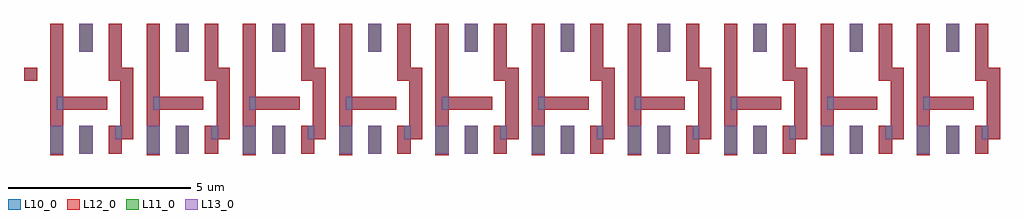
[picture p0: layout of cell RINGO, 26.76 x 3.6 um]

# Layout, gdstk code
import gdstk
lib = gdstk.Library(unit=1e-6, precision=1e-09)
def R(c, l, rs):  # rectangles x0, y0, x1, y1
    for r in rs: c.add(gdstk.rectangle(r[:2], r[2:], *l))
def P(c, l, *ps):  # polygons
    for p in ps: c.add(gdstk.Polygon(p, *l))
L10_0 = (10, 0)
L11_0 = (11, 0)
L12_0 = (12, 0)
L13_0 = (13, 0)

inv2 = lib.new_cell('INV2')
R(inv2, L10_0, [(-0.18,-0.38,0.18,0.38), (-0.18,2.42,0.18,3.18)])
P(inv2, L10_0, [(-0.98,-0.42),(-0.98,3.18),(-0.62,3.18),(-0.62,1.18),(0.58,1.18),(0.58,0.82),(-0.62,0.82),(-0.62,-0.42)],
  [(0.62,-0.38),(0.62,0.38),(0.94,0.38),(0.94,1.62),(0.62,1.62),(0.62,3.18),(0.98,3.18),(0.98,1.98),(1.3,1.98),(1.3,0.02),(0.98,0.02),(0.98,-0.38)])
R(inv2, L11_0, [(-0.98,-0.38,-0.62,0.38), (-0.18,-0.38,0.18,0.38), (0.8,0.02,0.98,0.38), (-0.8,0.82,-0.62,1.18), (-0.18,2.42,0.18,3.18)])
R(inv2, L12_0, [(-0.18,-0.38,0.18,0.38), (-0.18,2.42,0.18,3.18)])
P(inv2, L12_0, [(-0.98,-0.42),(-0.98,3.18),(-0.62,3.18),(-0.62,1.18),(0.58,1.18),(0.58,0.82),(-0.62,0.82),(-0.62,-0.42)],
  [(0.62,-0.38),(0.62,0.38),(0.94,0.38),(0.94,1.62),(0.62,1.62),(0.62,3.18),(0.98,3.18),(0.98,1.98),(1.3,1.98),(1.3,0.02),(0.98,0.02),(0.98,-0.38)])
R(inv2, L13_0, [(-0.98,-0.38,-0.62,0.38), (-0.18,-0.38,0.18,0.38), (0.8,0.02,0.98,0.38), (-0.8,0.82,-0.62,1.18), (-0.18,2.42,0.18,3.18)])

ringo = lib.new_cell('RINGO')
R(ringo, L10_0, [(-1.7,1.62,-1.34,1.98)])
R(ringo, L12_0, [(-1.7,1.62,-1.34,1.98)])
ringo.add(gdstk.Reference(inv2, (0,0)))
ringo.add(gdstk.Reference(inv2, (2.64,0)))
ringo.add(gdstk.Reference(inv2, (5.28,0)))
ringo.add(gdstk.Reference(inv2, (7.92,0)))
ringo.add(gdstk.Reference(inv2, (10.56,0)))
ringo.add(gdstk.Reference(inv2, (13.2,0)))
ringo.add(gdstk.Reference(inv2, (15.84,0)))
ringo.add(gdstk.Reference(inv2, (18.48,0)))
ringo.add(gdstk.Reference(inv2, (21.12,0)))
ringo.add(gdstk.Reference(inv2, (23.76,0)))

lib.write_gds('RINGO.gds')
